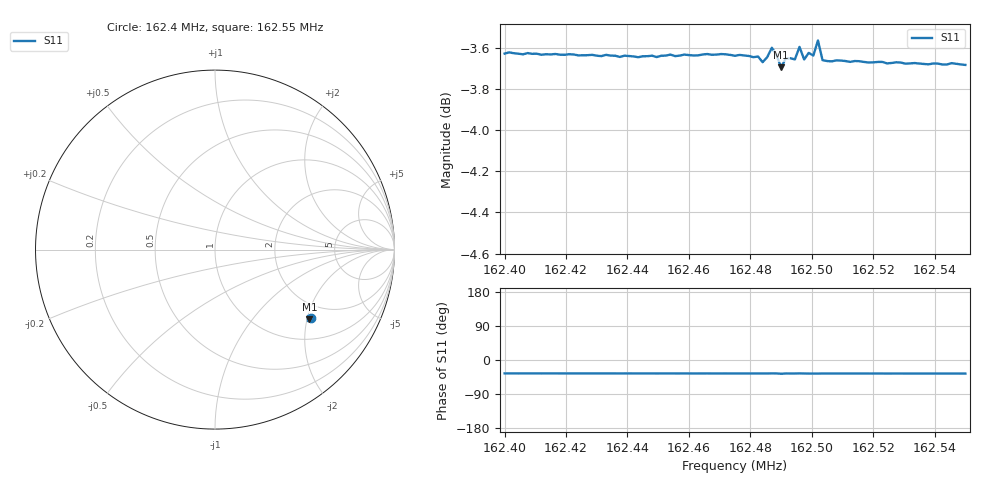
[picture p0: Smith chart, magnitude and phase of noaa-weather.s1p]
! Calibrated averaged scanner-service zoom
# Hz S RI R 50
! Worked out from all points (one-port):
!   101 points, 162.4 MHz to 162.55 MHz, reference 50 ohm
!   lowest |S11| = -3.7 dB at 162.49 MHz (marker M1), VSWR 4.77, Z = 76.6 - j103 ohm
!   |S11| at or under -10 dB: nowhere
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1.624e8  0.5371 -0.3811
1.624015e8  0.5376 -0.3811
1.624195e8  0.5365 -0.3811
1.62433e8  0.5363 -0.3814
1.624375e8  0.5354 -0.3813
1.62457e8  0.5356 -0.3819
1.62466e8  0.5362 -0.3821
1.62475e8  0.5351 -0.3825
1.624825e8  0.535 -0.3822
1.62484e8  0.5335 -0.3807
1.624855e8  0.5347 -0.3822
1.62487e8  0.539 -0.3821
1.624885e8  0.5362 -0.3816
1.6249e8  0.5264 -0.3872
1.624915e8  0.5342 -0.382
1.624945e8  0.5338 -0.3821
1.62496e8  0.5392 -0.3824
1.624975e8  0.5337 -0.3821
1.62499e8  0.5345 -0.3852
1.625005e8  0.5336 -0.3848
1.62502e8  0.538 -0.3881
1.625035e8  0.5335 -0.3819
1.625125e8  0.5326 -0.3822
1.625155e8  0.533 -0.382
1.62532e8  0.5319 -0.3822
1.62544e8  0.5313 -0.3823
1.625455e8  0.5319 -0.3824
1.6255e8  0.531 -0.3825
